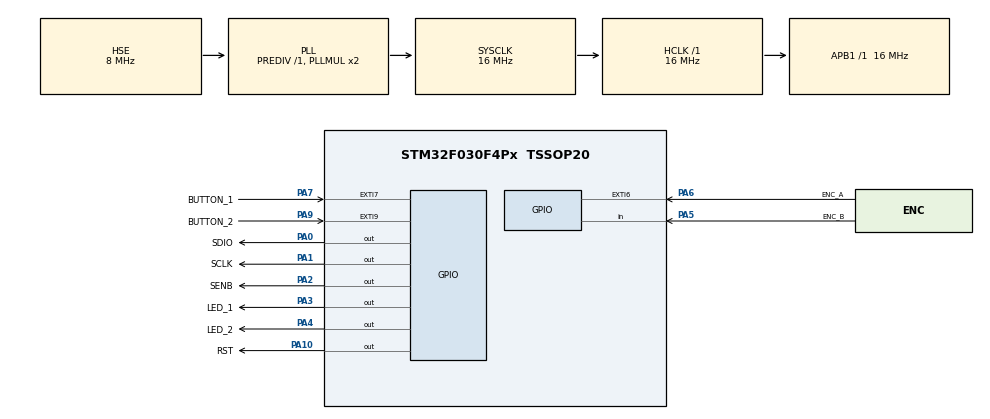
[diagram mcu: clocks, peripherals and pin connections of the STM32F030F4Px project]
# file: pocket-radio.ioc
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Mcu.Family=STM32F0
Mcu.Name=STM32F030F4Px
Mcu.Package=TSSOP20
NVIC.EXTI4_15_IRQn=true\:0\:0\:false\:false\:true\:true\:true\:true
PA0.GPIO_Label=SDIO
PA0.GPIO_ModeDefaultOutputPP=GPIO_MODE_OUTPUT_OD
PA0.GPIO_PuPd=GPIO_PULLUP
PA0.Signal=GPIO_Output
PA1.GPIO_Label=SCLK
PA1.Signal=GPIO_Output
PA10.GPIO_Label=RST
PA10.Signal=GPIO_Output
PA13.Mode=Serial_Wire
PA13.Signal=SYS_SWDIO
PA14.Mode=Serial_Wire
PA14.Signal=SYS_SWCLK
PA2.GPIO_Label=SENB
PA2.Signal=GPIO_Output
PA3.GPIO_Label=LED_1
PA3.Signal=GPIO_Output
PA4.GPIO_Label=LED_2
PA4.Signal=GPIO_Output
PA5.GPIO_Label=ENC_B
PA5.GPIO_PuPd=GPIO_PULLUP
PA5.Signal=GPIO_Input
PA6.GPIO_Label=ENC_A
PA6.GPIO_PuPd=GPIO_PULLUP
PA6.Signal=GPXTI6
PA7.GPIO_Label=BUTTON_1
PA7.GPIO_PuPd=GPIO_PULLUP
PA7.Signal=GPXTI7
PA9.GPIO_Label=BUTTON_2
PA9.GPIO_PuPd=GPIO_PULLUP
PA9.Signal=GPXTI9
PF0-OSC_IN.Mode=HSE-External-Oscillator
PF0-OSC_IN.Signal=RCC_OSC_IN
PF1-OSC_OUT.Mode=HSE-External-Oscillator
PF1-OSC_OUT.Signal=RCC_OSC_OUT
ProjectManager.HeapSize=0x200
ProjectManager.StackSize=0x400
ProjectManager.TargetToolchain=STM32CubeIDE
RCC.AHBFreq_Value=16000000
RCC.APB1Freq_Value=16000000
RCC.APB1TimFreq_Value=16000000
RCC.HCLKFreq_Value=16000000
RCC.PLLSourceVirtual=RCC_PLLSOURCE_HSE
RCC.SYSCLKFreq_VALUE=16000000
RCC.SYSCLKSource=RCC_SYSCLKSOURCE_PLLCLK
TIM14.Prescaler=79
VP_TIM14_VS_ClockSourceINT.Mode=Enable_Timer
board=custom

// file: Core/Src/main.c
/* USER CODE BEGIN Header */
/**
  ******************************************************************************
  * @file           : main.c
  * @brief          : Main program body
  ******************************************************************************
  * @attention
  *
  * Copyright (c) 2024 STMicroelectronics.
  * All rights reserved.
  *
  * This software is licensed under terms that can be found in the LICENSE file
  * in the root directory of this software component.
  * If no LICENSE file comes with this software, it is provided AS-IS.
  *
  ******************************************************************************
  */
/* USER CODE END Header */
#include "main.h"

/* USER CODE BEGIN PD */
#define ENC_DELAY 200
#define ENC_POS_MAX 20
#define CHANNEL_MIN 88.0
#define CHANNEL_MAX 108.0
/* USER CODE END PD */

TIM_HandleTypeDef htim14;

/* USER CODE BEGIN PV */

// Encoder to tune channel
uint32_t prev_enc_time = 0;  // Time of the last interrupt, we only need one because the signals are in quadrature
uint8_t stable_A = 0;
uint8_t stable_B = 0;
uint8_t encoder_state = 0;
volatile int8_t encoder_position = 0;
volatile int8_t channel_changed = 0;

float channel = 103.5;

/* USER CODE END PV */

void SystemClock_Config(void);
static void MX_GPIO_Init(void);
static void MX_TIM14_Init(void);
/* USER CODE BEGIN PFP */
void delay10us();
//void clearCommands();
void start();
void end();
void ack();
void powerUp();
void setFreq(float channel);
void seek();
void readStatus(uint8_t cont, uint8_t bytes_to_read);
void fm_tune_status();

/* USER CODE END PFP */

int main(void)
{

  /* MCU Configuration--------------------------------------------------------*/

  /* Reset of all peripherals, Initializes the Flash interface and the Systick. */
  HAL_Init();

  /* Configure the system clock */
  SystemClock_Config();

  /* Initialize all configured peripherals */
  MX_GPIO_Init();
  MX_TIM14_Init();
  /* USER CODE BEGIN 2 */

//  stable_A = HAL_GPIO_ReadPin(GPIOA, ENC_A_Pin);
//  stable_B = HAL_GPIO_ReadPin(GPIOA, ENC_B_Pin);
//  encoder_state = (stable_A << 1) | stable_B;

  // Start FM receiver by setting RST high;; SCLK needs to be high for 2 wire mode
  HAL_GPIO_WritePin(GPIOA, SCLK_Pin, GPIO_PIN_SET);
  HAL_Delay(100);
  HAL_GPIO_WritePin(GPIOA, RST_Pin, GPIO_PIN_SET);
  HAL_Delay(100);

  // Set SEN low for 7 bit device address 0010001b
  HAL_GPIO_WritePin(GPIOA, SENB_Pin, GPIO_PIN_RESET);
  HAL_Delay(100);

  powerUp();
  HAL_GPIO_WritePin(GPIOA, LED_1_Pin, GPIO_PIN_SET);
  HAL_Delay(500);
  HAL_GPIO_WritePin(GPIOA, LED_1_Pin, GPIO_PIN_RESET);
  HAL_Delay(2000);

//  setFreq(channel);
  seek();
  HAL_GPIO_WritePin(GPIOA, LED_1_Pin, GPIO_PIN_SET);
  HAL_Delay(500);
  HAL_GPIO_WritePin(GPIOA, LED_1_Pin, GPIO_PIN_RESET);
  HAL_Delay(500);

  fm_tune_status();
  HAL_Delay(500);
  readStatus(1, 8);

  /* USER CODE END 2 */

  /* Infinite loop */
  while (1)
  {

    /* USER CODE BEGIN 3 */

//	  // LED indicators when you reach the min/max channels
//	  if (channel <= CHANNEL_MIN) {
//		  HAL_GPIO_WritePin(GPIOA, LED_1_Pin, GPIO_PIN_SET);
//		  HAL_GPIO_WritePin(GPIOA, LED_2_Pin, GPIO_PIN_RESET);
//	  }
//	  else if (channel >= CHANNEL_MAX) {
//		  HAL_GPIO_WritePin(GPIOA, LED_1_Pin, GPIO_PIN_RESET);
//		  HAL_GPIO_WritePin(GPIOA, LED_2_Pin, GPIO_PIN_SET);
//	  }
//	  else {
//		  HAL_GPIO_WritePin(GPIOA, LED_1_Pin, GPIO_PIN_RESET);
//		  HAL_GPIO_WritePin(GPIOA, LED_2_Pin, GPIO_PIN_RESET);
//	  }

//	  // Change channel
//	  if (channel_changed) {
//		  channel = CHANNEL_MIN + (float)encoder_position / 4.0 * 0.1;
//
//		  // Send command to radio receiver to change channel
//		  sendCommand(channel);
//
//		  channel_changed = 0;
//	  }

	  HAL_Delay(500);
  }
  /* USER CODE END 3 */
}

void SystemClock_Config(void)
{
  RCC_OscInitTypeDef RCC_OscInitStruct = {0};
  RCC_ClkInitTypeDef RCC_ClkInitStruct = {0};

  /** Initializes the RCC Oscillators according to the specified parameters
  * in the RCC_OscInitTypeDef structure.
  */
  RCC_OscInitStruct.OscillatorType = RCC_OSCILLATORTYPE_HSE;
  RCC_OscInitStruct.HSEState = RCC_HSE_ON;
  RCC_OscInitStruct.PLL.PLLState = RCC_PLL_ON;
  RCC_OscInitStruct.PLL.PLLSource = RCC_PLLSOURCE_HSE;
  RCC_OscInitStruct.PLL.PLLMUL = RCC_PLL_MUL2;
  RCC_OscInitStruct.PLL.PREDIV = RCC_PREDIV_DIV1;
  if (HAL_RCC_OscConfig(&RCC_OscInitStruct) != HAL_OK)
  {
    Error_Handler();
  }

  /** Initializes the CPU, AHB and APB buses clocks
  */
  RCC_ClkInitStruct.ClockType = RCC_CLOCKTYPE_HCLK|RCC_CLOCKTYPE_SYSCLK
                              |RCC_CLOCKTYPE_PCLK1;
  RCC_ClkInitStruct.SYSCLKSource = RCC_SYSCLKSOURCE_PLLCLK;
  RCC_ClkInitStruct.AHBCLKDivider = RCC_SYSCLK_DIV1;
  RCC_ClkInitStruct.APB1CLKDivider = RCC_HCLK_DIV1;

  if (HAL_RCC_ClockConfig(&RCC_ClkInitStruct, FLASH_LATENCY_0) != HAL_OK)
  {
    Error_Handler();
  }
}

static void MX_TIM14_Init(void)
{

  htim14.Instance = TIM14;
  htim14.Init.Prescaler = 79;
  htim14.Init.CounterMode = TIM_COUNTERMODE_UP;
  htim14.Init.Period = 65535;
  htim14.Init.ClockDivision = TIM_CLOCKDIVISION_DIV1;
  htim14.Init.AutoReloadPreload = TIM_AUTORELOAD_PRELOAD_DISABLE;
  if (HAL_TIM_Base_Init(&htim14) != HAL_OK)
  {
    Error_Handler();
  }
  /* USER CODE BEGIN TIM14_Init 2 */
  HAL_TIM_Base_Start(&htim14);
  /* USER CODE END TIM14_Init 2 */

}

static void MX_GPIO_Init(void)
{
  GPIO_InitTypeDef GPIO_InitStruct = {0};

  /* GPIO Ports Clock Enable */
  __HAL_RCC_GPIOF_CLK_ENABLE();
  __HAL_RCC_GPIOA_CLK_ENABLE();

  /*Configure GPIO pin Output Level */
  HAL_GPIO_WritePin(GPIOA, SDIO_Pin|SCLK_Pin|SENB_Pin|LED_1_Pin
                          |LED_2_Pin|RST_Pin, GPIO_PIN_RESET);

  /*Configure GPIO pin : SDIO_Pin */
  GPIO_InitStruct.Pin = SDIO_Pin;
  GPIO_InitStruct.Mode = GPIO_MODE_OUTPUT_OD;
  GPIO_InitStruct.Pull = GPIO_PULLUP;
  GPIO_InitStruct.Speed = GPIO_SPEED_FREQ_LOW;
  HAL_GPIO_Init(SDIO_GPIO_Port, &GPIO_InitStruct);

  /*Configure GPIO pins : SCLK_Pin SENB_Pin LED_1_Pin LED_2_Pin
                           RST_Pin */
  GPIO_InitStruct.Pin = SCLK_Pin|SENB_Pin|LED_1_Pin|LED_2_Pin
                          |RST_Pin;
  GPIO_InitStruct.Mode = GPIO_MODE_OUTPUT_PP;
  GPIO_InitStruct.Pull = GPIO_NOPULL;
  GPIO_InitStruct.Speed = GPIO_SPEED_FREQ_LOW;
  HAL_GPIO_Init(GPIOA, &GPIO_InitStruct);

  /*Configure GPIO pin : ENC_B_Pin */
  GPIO_InitStruct.Pin = ENC_B_Pin;
  GPIO_InitStruct.Mode = GPIO_MODE_INPUT;
  GPIO_InitStruct.Pull = GPIO_PULLUP;
  HAL_GPIO_Init(ENC_B_GPIO_Port, &GPIO_InitStruct);

  /*Configure GPIO pins : ENC_A_Pin BUTTON_1_Pin BUTTON_2_Pin */
  GPIO_InitStruct.Pin = ENC_A_Pin|BUTTON_1_Pin|BUTTON_2_Pin;
  GPIO_InitStruct.Mode = GPIO_MODE_IT_RISING;
  GPIO_InitStruct.Pull = GPIO_PULLUP;
  HAL_GPIO_Init(GPIOA, &GPIO_InitStruct);

  /* EXTI interrupt init*/
  HAL_NVIC_SetPriority(EXTI4_15_IRQn, 0, 0);
  HAL_NVIC_EnableIRQ(EXTI4_15_IRQn);

}

/* USER CODE BEGIN 4 */

void HAL_GPIO_EXTI_Callback(uint16_t GPIO_Pin) {
  if(GPIO_Pin == ENC_A_Pin) {
	  uint32_t current_time = HAL_GetTick();
	  if ((current_time - prev_enc_time) < ENC_DELAY) {
		  return;
	  }
	  prev_enc_time = current_time;

//	  uint8_t current_A = HAL_GPIO_ReadPin(GPIOA, ENC_A_Pin);
	  uint8_t current_B = HAL_GPIO_ReadPin(GPIOA, ENC_B_Pin);

	  if (current_B == 0) {
		  encoder_position++;
	  }
	  else {
		  encoder_position--;
	  }

	  if (encoder_position > ENC_POS_MAX) {
		  encoder_position = ENC_POS_MAX;
	  }
	  else if (encoder_position < 0) {
		  encoder_position = 0;
	  }

	  channel_changed = 1;

//	  // If the state has changed
//	  if (current_A != stable_A || current_B != stable_B) {
//		  stable_A = current_A;
//		  stable_B = current_B;
//
//		  // Use Gray code to determine direction (it goes 00 01 11 10)
//		  uint8_t new_state = (stable_A << 1) | stable_B;
//		  int8_t direction = 0;
//
//		  switch (encoder_state) {
//			  case 0:
//				  if (new_state == 1) direction = 1;
//				  if (new_state == 2) direction = -1;
//				  break;
//			  case 1:
//				  if (new_state == 3) direction = 1;
//				  if (new_state == 0) direction = -1;
//				  break;
//			  case 2:
//				  if (new_state == 0) direction = 1;
//				  if (new_state == 3) direction = -1;
//				  break;
//			  case 3:
//				  if (new_state == 2) direction = 1;
//				  if (new_state == 1) direction = -1;
//				  break;
//		  }
//
//		  encoder_position += direction;
//		  if (encoder_position > ENC_POS_MAX) {
//			  encoder_position = ENC_POS_MAX;
//		  }
//		  else if (encoder_position < 0) {
//			  encoder_position = 0;
//		  }
//		  encoder_state = new_state;
//
//		  channel_changed = 1;
//	  }
  }
  else {
	  __NOP();
  }
}

void delay10us(int mult) {
	// Timer is running at 16/80 = 0.2 MHz, so ticks are 5 us
	__HAL_TIM_SET_COUNTER(&htim14, 0);
	while ((uint16_t)__HAL_TIM_GET_COUNTER(&htim14) < 2*mult);
}

//// Clear commands to FM receiver
//void clearCommands() {
//	HAL_GPIO_WritePin(GPIOA, SENB_Pin, GPIO_PIN_SET);
//	delay10us(10);
//	HAL_GPIO_WritePin(GPIOA, SCLK_Pin, GPIO_PIN_SET);
//	delay10us(10);
//	HAL_GPIO_WritePin(GPIOA, SCLK_Pin, GPIO_PIN_RESET);
//	delay10us(10);
//}

void start() {
	// Start (SDIO falls while SCLK is high)
	HAL_GPIO_WritePin(GPIOA, SDIO_Pin, GPIO_PIN_SET);
	delay10us(10);
	HAL_GPIO_WritePin(GPIOA, SCLK_Pin, GPIO_PIN_SET);
	delay10us(10);
	HAL_GPIO_WritePin(GPIOA, SDIO_Pin, GPIO_PIN_RESET);
	delay10us(10);
	HAL_GPIO_WritePin(GPIOA, SCLK_Pin, GPIO_PIN_RESET);
	delay10us(10);
}

void end() {
	// End (SDIO rises while SCLK is high)
	HAL_GPIO_WritePin(GPIOA, SDIO_Pin, GPIO_PIN_RESET);
	delay10us(10);
	HAL_GPIO_WritePin(GPIOA, SCLK_Pin, GPIO_PIN_SET);
	delay10us(10);
	HAL_GPIO_WritePin(GPIOA, SDIO_Pin, GPIO_PIN_SET);
	delay10us(10);
	HAL_GPIO_WritePin(GPIOA, SCLK_Pin, GPIO_PIN_RESET);
	delay10us(10);
}

void ack() {
	// Let FM receiver drive the acknowledgment bit (SDIO high is open drain with pull-up)
	HAL_GPIO_WritePin(GPIOA, SDIO_Pin, GPIO_PIN_SET);
	delay10us(10);
	HAL_GPIO_WritePin(GPIOA, SCLK_Pin, GPIO_PIN_SET);
	delay10us(10);
	HAL_GPIO_WritePin(GPIOA, SCLK_Pin, GPIO_PIN_RESET);
	delay10us(10);
}

void powerUp() {
	uint8_t CTL = 0x22;
	uint8_t CMD = 0x01;
	// FM receive mode (see https://media.digikey.com/pdf/Data%20Sheets/Silicon%20Laboratories%20PDFs/Si47xx_ProgGuide.pdf)
	uint8_t ARG1 = 0x00;
	// Analog out
	uint8_t ARG2 = 0x05;

	uint8_t MSG[4] = {CTL, CMD, ARG1, ARG2};

	start();

	for (int i = 0; i < 4; i++) {
		uint8_t data = MSG[i];

		for (int bit = 7; bit >= 0; bit--) {
			if (data & (1 << bit)) {
				HAL_GPIO_WritePin(GPIOA, SDIO_Pin, GPIO_PIN_SET);
			}
			else {
				HAL_GPIO_WritePin(GPIOA, SDIO_Pin, GPIO_PIN_RESET);
			}
			delay10us(10);

			// Toggle clock
			HAL_GPIO_WritePin(GPIOA, SCLK_Pin, GPIO_PIN_SET);
			delay10us(10);
			HAL_GPIO_WritePin(GPIOA, SCLK_Pin, GPIO_PIN_RESET);
			delay10us(10);
		}

		ack();
	}

	end();
}

// Function to mimic SPI since I'm dumb and didn't route to the SPI pins
void setFreq(float channel) {

	uint8_t CTL = 0x22;
	uint8_t CMD = 0x20;
	uint16_t channel_int = (int)(100 * channel);
	uint8_t high_byte = (channel_int >> 8) & 0xFF; // 0xFF is 0000000011111111 for masking ;)
	uint8_t low_byte = channel_int & 0xFF;

	uint8_t MSG[5] = {CTL, CMD, 0x00, high_byte, low_byte};

	start();

	for (int i = 0; i < 5; i++) {
		uint8_t data = MSG[i];

		for (int bit = 7; bit >= 0; bit--) {
			if (data & (1 << bit)) {
				HAL_GPIO_WritePin(GPIOA, SDIO_Pin, GPIO_PIN_SET);
			}
			else {
				HAL_GPIO_WritePin(GPIOA, SDIO_Pin, GPIO_PIN_RESET);
			}
			delay10us(10);

			// Toggle clock
			HAL_GPIO_WritePin(GPIOA, SCLK_Pin, GPIO_PIN_SET);
			delay10us(10);
			HAL_GPIO_WritePin(GPIOA, SCLK_Pin, GPIO_PIN_RESET);
			delay10us(10);
		}

		ack();
	}

	end();
}

void seek() {
	uint8_t CTL = 0x22;
	uint8_t CMD = 0x21;
	uint8_t MSG[3] = {CTL, CMD, 0x0C}; // 00001100 for seek up and wrap

	start();

	for (int i = 0; i < 3; i++) {
		uint8_t data = MSG[i];

		for (int bit = 7; bit >= 0; bit--) {
			if (data & (1 << bit)) {
				HAL_GPIO_WritePin(GPIOA, SDIO_Pin, GPIO_PIN_SET);
			}
			else {
				HAL_GPIO_WritePin(GPIOA, SDIO_Pin, GPIO_PIN_RESET);
			}
			delay10us(10);

			// Toggle clock
			HAL_GPIO_WritePin(GPIOA, SCLK_Pin, GPIO_PIN_SET);
			delay10us(10);
			HAL_GPIO_WritePin(GPIOA, SCLK_Pin, GPIO_PIN_RESET);
			delay10us(10);
		}

		ack();
	}

	end();
}

void readStatus(uint8_t cont, uint8_t bytes_to_read) {
	uint8_t CTL = 0x23;

	start();

	for (int bit = 7; bit >= 0; bit--) {
		if (CTL & (1 << bit)) {
			HAL_GPIO_WritePin(GPIOA, SDIO_Pin, GPIO_PIN_SET);
		}
		else {
			HAL_GPIO_WritePin(GPIOA, SDIO_Pin, GPIO_PIN_RESET);
		}
		delay10us(10);

		// Toggle clock
		HAL_GPIO_WritePin(GPIOA, SCLK_Pin, GPIO_PIN_SET);
		delay10us(10);
		HAL_GPIO_WritePin(GPIOA, SCLK_Pin, GPIO_PIN_RESET);
		delay10us(10);
	}
	ack();

	for (int i = 0; i < bytes_to_read; i++) {
		for (int bit = 7; bit >= 0; bit--) {
			HAL_GPIO_WritePin(GPIOA, SDIO_Pin, GPIO_PIN_SET);
			delay10us(10);

			// Toggle clock
			HAL_GPIO_WritePin(GPIOA, SCLK_Pin, GPIO_PIN_SET);
			delay10us(10);
			HAL_GPIO_WritePin(GPIOA, SCLK_Pin, GPIO_PIN_RESET);
			delay10us(10);
		}

		if (cont == 0) {
			ack();
			break;
		}
		else if (i == (bytes_to_read - 1)) {
			ack();
		}
		else {
			HAL_GPIO_WritePin(GPIOA, SDIO_Pin, GPIO_PIN_RESET);
			delay10us(10);
			HAL_GPIO_WritePin(GPIOA, SCLK_Pin, GPIO_PIN_SET);
			delay10us(10);
			HAL_GPIO_WritePin(GPIOA, SCLK_Pin, GPIO_PIN_RESET);
			delay10us(10);
		}
	}

	end();
}

void fm_tune_status() {
	uint8_t CTL = 0x22;
	uint8_t CMD = 0x22;

	uint8_t MSG[3] = {CTL, CMD, 0x00};

	start();

	for (int i = 0; i < 3; i++) {
		uint8_t data = MSG[i];

		for (int bit = 7; bit >= 0; bit--) {
			if (data & (1 << bit)) {
				HAL_GPIO_WritePin(GPIOA, SDIO_Pin, GPIO_PIN_SET);
			}
			else {
				HAL_GPIO_WritePin(GPIOA, SDIO_Pin, GPIO_PIN_RESET);
			}
			delay10us(10);

			// Toggle clock
			HAL_GPIO_WritePin(GPIOA, SCLK_Pin, GPIO_PIN_SET);
			delay10us(10);
			HAL_GPIO_WritePin(GPIOA, SCLK_Pin, GPIO_PIN_RESET);
			delay10us(10);
		}

		ack();
	}

	end();
}

/* USER CODE END 4 */

void Error_Handler(void)
{
  __disable_irq();
  while (1)
  {
  }
}
